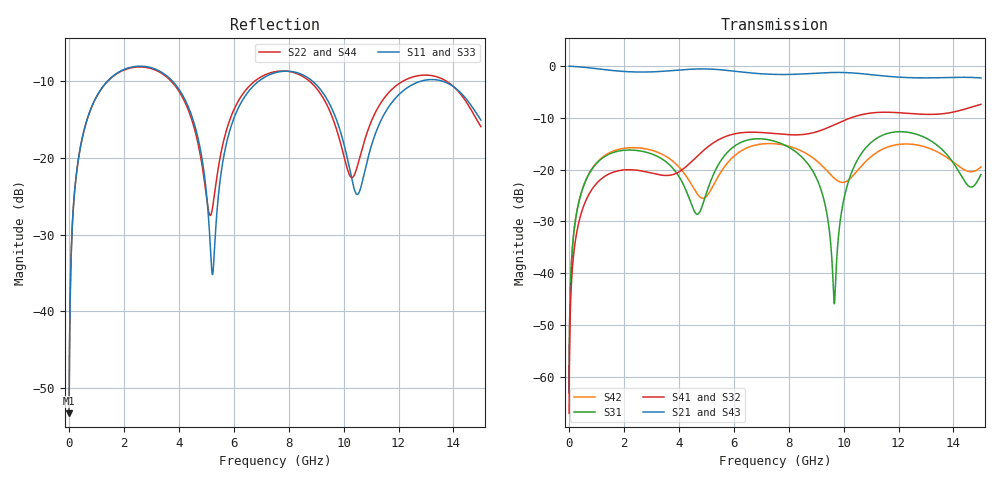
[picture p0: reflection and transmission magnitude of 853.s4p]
! Created with skrf 1.8.0 (http://scikit-rf.org).
# GHz S RI R 50.0
!freq ReS11 ImS11 ReS12 ImS12 ReS13 ImS13
! ReS14 ImS14
! ReS21 ImS21 ReS22 ImS22 ReS23 ImS23
! ReS24 ImS24
! ReS31 ImS31 ReS32 ImS32 ReS33 ImS33
! ReS34 ImS34
! ReS41 ImS41 ReS42 ImS42 ReS43 ImS43
! ReS44 ImS44
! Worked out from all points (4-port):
!   2499 points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, 5 MHz to 15 GHz, reference 50 ohm
!   strongest paths, dB at 5 MHz, 3.476 GHz, 7.19 GHz, 11.1 GHz, 15 GHz:
!     S21: 0.0, -1.0, -1.5, -1.7, -2.3
!     S43: 0.0, -1.0, -1.5, -1.7, -2.3
!     S41: -67.1, -21.1, -12.9, -9.0, -7.4
!     S32: -67.1, -21.2, -13.0, -9.0, -7.4
!     S31: -63.1, -18.3, -14.2, -14.4, -21.0
!     S42: -63.1, -17.3, -15.0, -17.1, -19.5
!   lowest |S11| = -53.3 dB at 5 MHz (marker M1), VSWR 1.00, Z = 50.2 + j0.132 ohm
!   |S11| at or under -10 dB: 3.764 GHz to 6.922 GHz (3.159 GHz wide, 59.1 % of centre); 8.859 GHz to 12.84 GHz (3.983 GHz wide, 36.7 % of centre); 13.58 GHz to end of sweep (the widest 3 of 4)
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0.005  0.00173 0.00131  0.9982 -0.00337  8.73e-05 0.000694  -8.49e-05 -0.000434
       0.9982 -0.00337  0.00173 0.00131  -8.48e-05 -0.000434  8.76e-05 0.000694
       8.73e-05 0.000694  -8.48e-05 -0.000434  0.00173 0.00131  0.9982 -0.00337
       -8.49e-05 -0.000434  8.76e-05 0.000694  0.9982 -0.00337  0.00173 0.00131
1.519383  0.2822 0.1726  0.5271 -0.7419  0.1262 0.0678  -0.0923 -0.00241
          0.5271 -0.7419  0.2781 0.1754  -0.0922 -0.00263  0.1386 0.0501
          0.1262 0.0678  -0.0922 -0.00263  0.2823 0.1725  0.5271 -0.7419
          -0.0923 -0.00241  0.1386 0.0501  0.5271 -0.7419  0.278 0.1755
5.233431  0.0174 0.000669  -0.9327 -0.0343  0.0523 0.0688  0.000205 0.1796
          -0.9327 -0.0343  0.044 0.0191  -0.00349 0.1795  -0.0359 0.0584
          0.0523 0.0688  -0.00349 0.1795  0.0171 -0.000633  -0.9326 -0.0345
          0.000205 0.1796  -0.0359 0.0584  -0.9326 -0.0345  0.0448 0.0174
7.99083  0.3655 -0.0205  -0.0248 0.8302  0.1488 -0.0719  0.208 -0.0629
         -0.0248 0.8302  0.3636 -0.033  0.2078 -0.0553  0.1413 -0.0921
         0.1488 -0.0719  0.2078 -0.0553  0.3662 -0.0225  -0.0238 0.8304
         0.208 -0.0629  0.1413 -0.0921  -0.0238 0.8304  0.3617 -0.0318
9.660275  0.1285 -0.1434  0.7042 0.5076  0.00504 0.000511  0.1468 -0.2277
          0.7042 0.5076  0.1238 -0.116  0.1565 -0.221  -0.0645 -0.0517
          0.00504 0.000511  0.1565 -0.221  0.1272 -0.1451  0.7051 0.5062
          0.1468 -0.2277  -0.0645 -0.0517  0.7051 0.5062  0.1261 -0.1151
11.10463  0.1028 0.0874  0.7904 -0.2216  0.1511 0.1186  -0.1355 -0.3276
          0.7904 -0.2216  0.1494 0.115  -0.1215 -0.3319  0.06 0.1267
          0.1511 0.1186  -0.1215 -0.3319  0.1046 0.0877  0.79 -0.2237
          -0.1355 -0.3276  0.06 0.1267  0.79 -0.2237  0.1487 0.1109
15  0.1619 -0.0693  -0.6269 -0.4436  -0.0729 0.0517  -0.2368 0.3553
    -0.6269 -0.4436  0.1476 -0.0604  -0.2597 0.3411  -0.1003 0.0341
    -0.0729 0.0517  -0.2597 0.3411  0.1502 -0.0679  -0.6319 -0.4374
    -0.2368 0.3553  -0.1003 0.0341  -0.6319 -0.4374  0.1527 -0.0546
